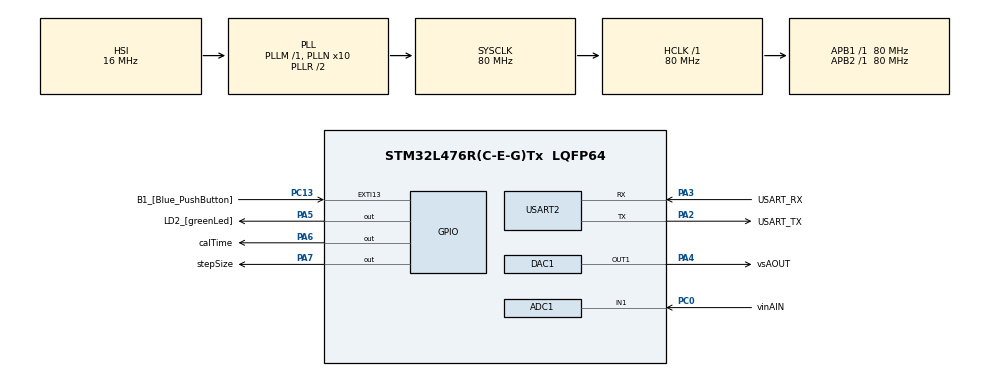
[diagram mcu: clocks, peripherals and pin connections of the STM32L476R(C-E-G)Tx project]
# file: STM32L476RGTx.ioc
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ADC1.Channel-0\#ChannelRegularConversion=ADC_CHANNEL_1
ADC1.NbrOfConversionFlag=1
ADC1.OffsetNumber-0\#ChannelRegularConversion=ADC_OFFSET_NONE
ADC1.Rank-0\#ChannelRegularConversion=1
ADC1.SamplingTime-0\#ChannelRegularConversion=ADC_SAMPLETIME_2CYCLES_5
ADC1.master=1
Mcu.Family=STM32L4
Mcu.Name=STM32L476R(C-E-G)Tx
Mcu.Package=LQFP64
NVIC.EXTI15_10_IRQn=true\:0\:0\:false\:false\:true\:true\:true\:true
NVIC.PriorityGroup=NVIC_PRIORITYGROUP_4
NVIC.TIM1_UP_TIM16_IRQn=true\:0\:0\:false\:false\:true\:true\:true\:true
PA13\ (JTMS-SWDIO).GPIO_Label=TMS
PA13\ (JTMS-SWDIO).Mode=Serial_Wire
PA13\ (JTMS-SWDIO).Signal=SYS_JTMS-SWDIO
PA14\ (JTCK-SWCLK).GPIO_Label=TCK
PA14\ (JTCK-SWCLK).Mode=Serial_Wire
PA14\ (JTCK-SWCLK).Signal=SYS_JTCK-SWCLK
PA2.GPIO_Label=USART_TX
PA2.GPIO_Mode=GPIO_MODE_AF_PP
PA2.GPIO_PuPd=GPIO_NOPULL
PA2.GPIO_Speed=GPIO_SPEED_FREQ_VERY_HIGH
PA2.Mode=Asynchronous
PA2.Signal=USART2_TX
PA3.GPIO_Label=USART_RX
PA3.GPIO_Mode=GPIO_MODE_AF_PP
PA3.GPIO_PuPd=GPIO_NOPULL
PA3.GPIO_Speed=GPIO_SPEED_FREQ_VERY_HIGH
PA3.Mode=Asynchronous
PA3.Signal=USART2_RX
PA4.GPIO_Label=vsAOUT
PA4.Signal=COMP_DAC11_group
PA5.GPIO_Label=LD2_[greenLed]
PA5.GPIO_ModeDefaultOutputPP=GPIO_MODE_OUTPUT_PP
PA5.GPIO_PuPd=GPIO_NOPULL
PA5.GPIO_Speed=GPIO_SPEED_FREQ_LOW
PA5.Signal=GPIO_Output
PA6.GPIO_Label=calTime
PA6.Signal=GPIO_Output
PA7.GPIO_Label=stepSize
PA7.Signal=GPIO_Output
PB3\ (JTDO-TRACESWO).GPIO_Label=SWO
PB3\ (JTDO-TRACESWO).Signal=SYS_JTDO-SWO
PC0.GPIO_Label=vinAIN
PC0.Signal=ADCx_IN1
PC13.GPIO_Label=B1_[Blue_PushButton]
PC13.GPIO_ModeDefaultEXTI=GPIO_MODE_IT_FALLING
PC13.GPIO_PuPd=GPIO_NOPULL
PC13.Signal=GPXTI13
PC14-OSC32_IN\ (PC14).Mode=LSE-External-Oscillator
PC14-OSC32_IN\ (PC14).Signal=RCC_OSC32_IN
PC15-OSC32_OUT\ (PC15).Mode=LSE-External-Oscillator
PC15-OSC32_OUT\ (PC15).Signal=RCC_OSC32_OUT
PH0-OSC_IN\ (PH0).Signal=RCC_OSC_IN
PH1-OSC_OUT\ (PH1).Signal=RCC_OSC_OUT
ProjectManager.HeapSize=0x200
ProjectManager.StackSize=0x400
ProjectManager.TargetToolchain=STM32CubeIDE
RCC.ADCFreq_Value=64000000
RCC.AHBFreq_Value=80000000
RCC.APB1Freq_Value=80000000
RCC.APB1TimFreq_Value=80000000
RCC.APB2Freq_Value=80000000
RCC.APB2TimFreq_Value=80000000
RCC.CortexFreq_Value=80000000
RCC.HCLKFreq_Value=80000000
RCC.HSE_VALUE=8000000
RCC.HSI_VALUE=16000000
RCC.MSI_VALUE=4000000
RCC.PLLN=10
RCC.PLLSourceVirtual=RCC_PLLSOURCE_HSI
RCC.PREFETCH_ENABLE=1
RCC.SYSCLKFreq_VALUE=80000000
RCC.SYSCLKSource=RCC_SYSCLKSOURCE_PLLCLK
RCC.USBFreq_Value=64000000
RCC.VCOOutputFreq_Value=160000000
SH.ADCx_IN1.0=ADC1_IN1,IN1-Single-Ended
SH.COMP_DAC11_group.0=DAC1_OUT1,DAC_OUT1
TIM1.CounterMode=TIM_COUNTERMODE_DOWN
TIM1.Period=199
TIM1.Prescaler=79
USART2.VirtualMode-Asynchronous=VM_ASYNC
VP_TIM1_VS_ClockSourceINT.Mode=Internal
board=NUCLEO-L476RG

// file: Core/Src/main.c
/* USER CODE BEGIN Header */
/**
  ******************************************************************************
  * @file           : main.c
  * @brief          : Main program body
  ******************************************************************************
  * @attention
  *
  * Copyright (c) 2026 STMicroelectronics.
  * All rights reserved.
  *
  * This software is licensed under terms that can be found in the LICENSE file
  * in the root directory of this software component.
  * If no LICENSE file comes with this software, it is provided AS-IS.
  *
  ******************************************************************************
  */
/* USER CODE END Header */
#include "main.h"
#include "adc.h"
#include "dac.h"
#include "tim.h"
#include "usart.h"
#include "gpio.h"

/* USER CODE BEGIN Includes */
#include "block.h"
/* USER CODE END Includes */

/* USER CODE BEGIN PTD */
#define CONCAT_INNER(a, b) a##b
#define CONCAT(a, b) CONCAT_INNER(a, b)

/* Define shortcut names for unique, hash-based eFMU API: */
#define MODEL_HASH \
  H225c1baf6cf5a31bc9b0c38998c32298f6f0531c_cb4a8a449b4ada864625ee5a4355578a3aaf08ed

typedef CONCAT(BlockState_, MODEL_HASH) \
  ModelPSS;
typedef CONCAT(SPE_Real_, MODEL_HASH) \
  PSS_Real;
typedef CONCAT(SPE_ErrorSignal_, MODEL_HASH) \
  PSS_ErrorSignal;

#define PSS_NONE_ERRORSIGNAL \
  CONCAT(SPE_ERRORSIGNAL_NONE_, MODEL_HASH)
#define PSS_UNSPECIFIED_ERRORSIGNAL \
  CONCAT(SPE_ERRORSIGNAL_UNSPECIFIED_ERROR_, MODEL_HASH)

#define PSS_Startup \
  CONCAT(Startup_, MODEL_HASH)
#define PSS_DoStep \
  CONCAT(DoStep_, MODEL_HASH)
#define PSS_Recalibrate \
  CONCAT(Recalibrate_, MODEL_HASH)
#define PSS_Reinitialize \
  CONCAT(Reinitialize_, MODEL_HASH)
/* USER CODE END PTD */

/* USER CODE BEGIN PV */
/* Sampling request counter & PSS on/off button: */
static volatile uint8_t pending_samplings;
static volatile bool use_pss;
/* USER CODE END PV */

void SystemClock_Config(void);

int main(void)
{

  /* MCU Configuration--------------------------------------------------------*/

  /* Reset of all peripherals, Initializes the Flash interface and the Systick. */
  HAL_Init();

  /* Configure the system clock */
  SystemClock_Config();

  /* Initialize all configured peripherals */
  MX_GPIO_Init();
  MX_USART2_UART_Init();
  MX_ADC1_Init();
  MX_DAC1_Init();
  MX_TIM1_Init();
  /* USER CODE BEGIN 2 */
  /* Initialize error signaling: */
  PSS_ErrorSignal error_signals = PSS_NONE_ERRORSIGNAL;
  uint32_t error_timestamp = ((uint32_t) 0);

  /* Pre-compute constants: */
  const uint32_t POLL_TIMEOUT =
    ((uint32_t) 1); /* in ms */
  const PSS_Real ADC_TO_VOLTS =
    ((PSS_Real) 3.3) / ((PSS_Real) 4095.0 /* 12-bit ADC */);
  const PSS_Real VOLTS_TO_DAC =
    ((PSS_Real) 4095.0) / ((PSS_Real) 3.3);
  const PSS_Real DAC_MAX =
    ((PSS_Real) 4095.0);
  const PSS_Real DAC_MIN =
    ((PSS_Real) 0.0);
  const PSS_Real OFFSET =
    ((PSS_Real) 1.5);
  const PSS_Real CONSTANT_PU =
    ((PSS_Real) 0.0);

  /* Initialize the eFMU: */
  ModelPSS pss;
  PSS_Startup(&pss);
  error_signals |= pss.ErrorSignals;

  /* Recalibrate tunable parameters: */
  pss.Kw = ((PSS_Real) 7.04);
  pss.T1 = ((PSS_Real) 0.339913009676242);
  pss.T2 = ((PSS_Real) 0.0583198524063289);
  pss.T3 = ((PSS_Real) 0.339913009676242);
  pss.T4 = ((PSS_Real) 0.0583198524063289);
  pss.Tw = ((PSS_Real) 2.0);
  PSS_Recalibrate(&pss);
  error_signals |= pss.ErrorSignals;
  PSS_Reinitialize(&pss);
  error_signals |= pss.ErrorSignals;

  /*
    Block and blink the error LED
    if initialization failed:
  */
  if (PSS_NONE_ERRORSIGNAL != error_signals)
  {
    while (true)
    {
      HAL_GPIO_WritePin(LD2__GPIO_Port, LD2__Pin, GPIO_PIN_SET);
      uint32_t start = HAL_GetTick();
      while ((HAL_GetTick() - start) < ((uint32_t) 2000))
      {
      }
      HAL_GPIO_WritePin(LD2__GPIO_Port, LD2__Pin, GPIO_PIN_RESET);
      start = HAL_GetTick();
      while ((HAL_GetTick() - start) < ((uint32_t) 2000))
      {
      }
    }
  }

  /* Start sampling timer and DAC channels: */
  pending_samplings = ((uint8_t) 0);
  use_pss = true;
  HAL_DAC_Start(&hdac1, DAC_CHANNEL_1);
  HAL_TIM_Base_Start_IT(&htim1);
  __enable_irq();
  /* USER CODE END 2 */

  /* Infinite loop */
  /* USER CODE BEGIN WHILE */
  while (true)
  {
    /* USER CODE END WHILE */

    /* USER CODE BEGIN 3 */
    /* Conduct sampling if sampling timer ticked: */
    if (((uint8_t) 0) < pending_samplings)
    {
      /* Always reset the error signals: */
      error_signals = PSS_NONE_ERRORSIGNAL;

      /* Computation time for external profiling: */
      HAL_GPIO_WritePin(
        calTime_GPIO_Port,
        calTime_Pin,
        GPIO_PIN_SET);

      /* Input processing (convert AC to volt): */
      HAL_ADC_Start(&hadc1);
      if (HAL_OK == HAL_ADC_PollForConversion(
        &hadc1,
        POLL_TIMEOUT))
      {
        const uint32_t adc_raw =
          HAL_ADC_GetValue(&hadc1);
        pss.vSI =
          ((PSS_Real) adc_raw) * ADC_TO_VOLTS;
      }
      else
      {
        error_signals |= PSS_UNSPECIFIED_ERRORSIGNAL;
      }
      HAL_ADC_Stop(&hadc1);

      /* Compute sampling step: */
      PSS_DoStep(&pss);
      error_signals |= pss.ErrorSignals;

      /* Check if switch is pulling to GND: */
      const PSS_Real target_pu = use_pss
        ? pss.vs
        : CONSTANT_PU;

      /*
        Output processing (scaling, clamping,
        converting volt to AC):
      */
      PSS_Real dac_val =
        (target_pu + OFFSET) * VOLTS_TO_DAC;
      if (DAC_MIN > dac_val)
      {
        dac_val = DAC_MIN;
      }
      else if (DAC_MAX < dac_val)
      {
        dac_val = DAC_MAX;
      }
      HAL_DAC_SetValue(
        &hdac1,
        DAC_CHANNEL_1,
        DAC_ALIGN_12B_R,
        ((uint32_t) dac_val));

      /* Computation time for external profiling: */
      HAL_GPIO_WritePin(
        calTime_GPIO_Port,
        calTime_Pin,
        GPIO_PIN_RESET);

      --pending_samplings;
    }

    /* Set LED 2 for sampling errors or overruns: */
    if ((PSS_NONE_ERRORSIGNAL != error_signals)
      || (((uint8_t) 1) < pending_samplings))
    {
      error_timestamp = HAL_GetTick();
      HAL_GPIO_WritePin(
        LD2__GPIO_Port,
        LD2__Pin,
        GPIO_PIN_SET);
    }

    /*
      Unset LED 2 if on due to past errors
      (but always hold for at least 30000 ms):
    */
    if ((((uint32_t) 0) != error_timestamp)
      && (((uint32_t) 30000)
        < (HAL_GetTick() - error_timestamp)))
    {
      HAL_GPIO_WritePin(
        LD2__GPIO_Port,
        LD2__Pin,
        GPIO_PIN_RESET);
      error_timestamp = ((uint32_t) 0);
    }
  }
  /* USER CODE END 3 */
}

void SystemClock_Config(void)
{
  RCC_OscInitTypeDef RCC_OscInitStruct = {0};
  RCC_ClkInitTypeDef RCC_ClkInitStruct = {0};

  /** Configure the main internal regulator output voltage
  */
  if (HAL_PWREx_ControlVoltageScaling(PWR_REGULATOR_VOLTAGE_SCALE1) != HAL_OK)
  {
    Error_Handler();
  }

  /** Initializes the RCC Oscillators according to the specified parameters
  * in the RCC_OscInitTypeDef structure.
  */
  RCC_OscInitStruct.OscillatorType = RCC_OSCILLATORTYPE_HSI;
  RCC_OscInitStruct.HSIState = RCC_HSI_ON;
  RCC_OscInitStruct.HSICalibrationValue = RCC_HSICALIBRATION_DEFAULT;
  RCC_OscInitStruct.PLL.PLLState = RCC_PLL_ON;
  RCC_OscInitStruct.PLL.PLLSource = RCC_PLLSOURCE_HSI;
  RCC_OscInitStruct.PLL.PLLM = 1;
  RCC_OscInitStruct.PLL.PLLN = 10;
  RCC_OscInitStruct.PLL.PLLP = RCC_PLLP_DIV7;
  RCC_OscInitStruct.PLL.PLLQ = RCC_PLLQ_DIV2;
  RCC_OscInitStruct.PLL.PLLR = RCC_PLLR_DIV2;
  if (HAL_RCC_OscConfig(&RCC_OscInitStruct) != HAL_OK)
  {
    Error_Handler();
  }

  /** Initializes the CPU, AHB and APB buses clocks
  */
  RCC_ClkInitStruct.ClockType = RCC_CLOCKTYPE_HCLK|RCC_CLOCKTYPE_SYSCLK
                              |RCC_CLOCKTYPE_PCLK1|RCC_CLOCKTYPE_PCLK2;
  RCC_ClkInitStruct.SYSCLKSource = RCC_SYSCLKSOURCE_PLLCLK;
  RCC_ClkInitStruct.AHBCLKDivider = RCC_SYSCLK_DIV1;
  RCC_ClkInitStruct.APB1CLKDivider = RCC_HCLK_DIV1;
  RCC_ClkInitStruct.APB2CLKDivider = RCC_HCLK_DIV1;

  if (HAL_RCC_ClockConfig(&RCC_ClkInitStruct, FLASH_LATENCY_4) != HAL_OK)
  {
    Error_Handler();
  }
}

/* USER CODE BEGIN 4 */
void HAL_TIM_PeriodElapsedCallback(
  TIM_HandleTypeDef *htim)
{
  /* Check for sampling timer interrupt: */
  if (TIM1 == htim->Instance)
  {
    if (((uint8_t) 255) > pending_samplings)
    {
      ++pending_samplings;
    }
    HAL_GPIO_TogglePin(
      stepSize_GPIO_Port,
      stepSize_Pin);
  }
}

void HAL_GPIO_EXTI_Callback(uint16_t GPIO_Pin)
{
  static uint32_t last_override = ((uint32_t) 0);

  /* Check for blue button (PC13) interrupt: */
  if (B1__Pin == GPIO_Pin)
  {
    const uint32_t current_time = HAL_GetTick();
    /*
      Debounce; only accept press if 250 ms
      passed since last:
    */
    if (((uint32_t) 250)
      < (current_time - last_override))
    {
      use_pss = !use_pss;
      last_override = current_time;
    }
  }
}
/* USER CODE END 4 */

void Error_Handler(void)
{
  __disable_irq();
  while (1)
  {
  }
}
